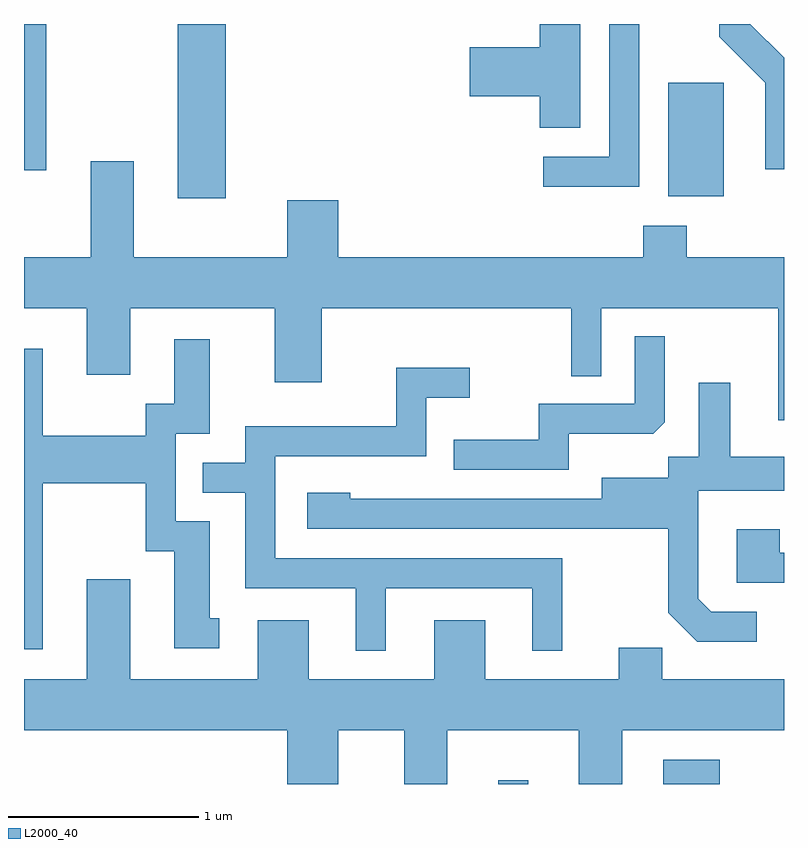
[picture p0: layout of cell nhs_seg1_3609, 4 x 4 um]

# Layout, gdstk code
import gdstk
lib = gdstk.Library(unit=1e-6, precision=1e-09)
def R(c, l, rs):  # rectangles x0, y0, x1, y1
    for r in rs: c.add(gdstk.rectangle(r[:2], r[2:], *l))
def P(c, l, *ps):  # polygons
    for p in ps: c.add(gdstk.Polygon(p, *l))
L2000_40 = (2000, 40)

nhs_seg1_3609 = lib.new_cell('nhs_seg1_3609')
R(nhs_seg1_3609, L2000_40, [(296.106,923.712,296.264,923.733), (296.976,923.712,297.274,923.839), (294.421,926.796,294.674,927.712), (297.001,926.806,297.294,927.404), (293.611,926.941,293.729,927.712)])
P(nhs_seg1_3609, L2000_40, [(297.611,927.535),(297.434,927.712),(297.271,927.712),(297.271,927.644),(297.511,927.404),(297.511,926.948),(297.611,926.948)],
  [(296.849,927.712),(296.691,927.712),(296.691,927.014),(296.343,927.014),(296.343,926.856),(296.849,926.856)],
  [(296.539,927.712),(296.326,927.712),(296.326,927.589),(295.956,927.589),(295.956,927.331),(296.326,927.331),(296.326,927.166),(296.539,927.166)],
  [(297.611,926.484),(297.099,926.484),(297.099,926.649),(296.871,926.649),(296.871,926.484),(295.264,926.484),(295.264,926.784),(294.996,926.784),(294.996,926.484),(294.189,926.484),(294.189,926.989),(293.961,926.989),(293.961,926.484),(293.611,926.484),(293.611,926.216),(293.941,926.216),(293.941,925.866),(294.169,925.866),(294.169,926.216),(294.931,926.216),(294.931,925.826),(295.179,925.826),(295.179,926.216),(296.491,926.216),(296.491,925.858),(296.649,925.858),(296.649,926.216),(297.581,926.216),(297.581,925.626),(297.611,925.626)],
  [(296.479,925.556),(296.924,925.556),(296.984,925.617),(296.984,926.068),(296.826,926.068),(296.826,925.714),(296.321,925.714),(296.321,925.524),(295.873,925.524),(295.873,925.366),(296.479,925.366)],
  [(293.709,925.296),(294.251,925.296),(294.251,924.936),(294.401,924.936),(294.401,924.426),(294.638,924.426),(294.638,924.584),(294.589,924.584),(294.589,925.094),(294.409,925.094),(294.409,925.556),(294.589,925.556),(294.589,926.054),(294.401,926.054),(294.401,925.714),(294.251,925.714),(294.251,925.544),(293.709,925.544),(293.709,926.004),(293.611,926.004),(293.611,924.421),(293.709,924.421)],
  [(295.514,924.741),(296.286,924.741),(296.286,924.413),(296.444,924.413),(296.444,924.899),(294.934,924.899),(294.934,925.436),(295.729,925.436),(295.729,925.746),(295.958,925.746),(295.958,925.904),(295.571,925.904),(295.571,925.594),(294.776,925.594),(294.776,925.404),(294.553,925.404),(294.553,925.246),(294.776,925.246),(294.776,924.741),(295.356,924.741),(295.356,924.413),(295.514,924.413)],
  [(297.468,924.619),(297.227,924.619),(297.159,924.687),(297.159,925.256),(297.611,925.256),(297.611,925.434),(297.329,925.434),(297.329,925.823),(297.161,925.823),(297.161,925.434),(297.001,925.434),(297.001,925.324),(296.651,925.324),(296.651,925.214),(295.329,925.214),(295.329,925.244),(295.101,925.244),(295.101,925.056),(297.001,925.056),(297.001,924.614),(297.154,924.461),(297.468,924.461)],
  [(297.611,924.929),(297.589,924.929),(297.589,925.054),(297.361,925.054),(297.361,924.771),(297.611,924.771)],
  [(295.264,923.996),(295.611,923.996),(295.611,923.712),(295.839,923.712),(295.839,923.996),(296.531,923.996),(296.531,923.712),(296.759,923.712),(296.759,923.996),(297.611,923.996),(297.611,924.264),(296.969,924.264),(296.969,924.429),(296.741,924.429),(296.741,924.264),(296.039,924.264),(296.039,924.574),(295.771,924.574),(295.771,924.264),(295.109,924.264),(295.109,924.574),(294.841,924.574),(294.841,924.264),(294.169,924.264),(294.169,924.789),(293.941,924.789),(293.941,924.264),(293.611,924.264),(293.611,923.996),(294.996,923.996),(294.996,923.712),(295.264,923.712)])

lib.write_gds('nhs_seg1_3609.gds')
